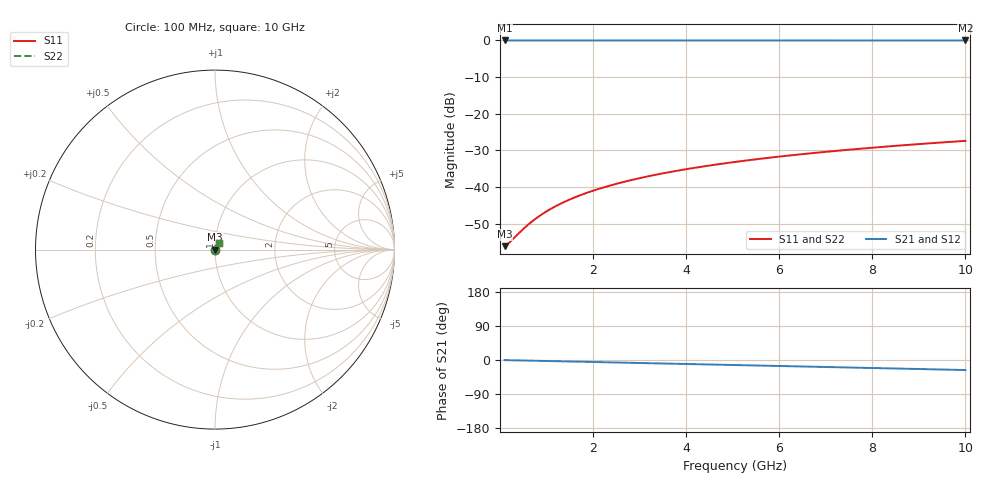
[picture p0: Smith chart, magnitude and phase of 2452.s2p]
# Hz S RI R 50.00
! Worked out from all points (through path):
!   100 points, 100 MHz to 10 GHz, reference 50 ohm
!   highest |S21| = -0.01 dB at 100 MHz (marker M1); lowest = 0.0 dB at 10 GHz (marker M2)
!   group delay of S21, straight-line fit = 7.35 ps
!   lowest |S11| = -56.2 dB at 100 MHz (marker M3), VSWR 1.00, Z = 50.1 + j0.0433 ohm
!   |S11| at or under -10 dB: start of sweep to end of sweep
!   |S22| runs from -56.2 to -27.4 dB; largest |S21 - S12| = 0
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1e8  0.00149 0.000432  0.9985 -0.00457  0.9985 -0.00457  0.00149 0.000432
2e8  0.00151 0.000864  0.9984 -0.00914  0.9984 -0.00914  0.00151 0.000864
5e8  0.00156 0.00216  0.9982 -0.0229  0.9982 -0.0229  0.00156 0.00216
6e8  0.00159 0.00259  0.9981 -0.0274  0.9981 -0.0274  0.00159 0.00259
7e8  0.00161 0.00302  0.9979 -0.032  0.9979 -0.032  0.00161 0.00302
9e8  0.00168 0.00388  0.9976 -0.0411  0.9976 -0.0411  0.00168 0.00388
1.1e9  0.00176 0.00474  0.9972 -0.0503  0.9972 -0.0503  0.00176 0.00474
1.3e9  0.00186 0.0056  0.9966 -0.0594  0.9966 -0.0594  0.00186 0.0056
1.5e9  0.00197 0.00645  0.996 -0.0686  0.996 -0.0686  0.00197 0.00645
1.8e9  0.00217 0.00773  0.995 -0.0823  0.995 -0.0823  0.00217 0.00773
2.1e9  0.0024 0.009  0.9937 -0.0959  0.9937 -0.0959  0.0024 0.009
2.5e9  0.00277 0.0107  0.9918 -0.1142  0.9918 -0.1142  0.00277 0.0107
2.9e9  0.00319 0.0123  0.9895 -0.1324  0.9895 -0.1324  0.00319 0.0123
3.4e9  0.00381 0.0144  0.9861 -0.1551  0.9861 -0.1551  0.00381 0.0144
3.8e9  0.00437 0.016  0.983 -0.1732  0.983 -0.1732  0.00437 0.016
4.2e9  0.00499 0.0176  0.9796 -0.1912  0.9796 -0.1912  0.00499 0.0176
5.1e9  0.0066 0.0211  0.9708 -0.2317  0.9708 -0.2317  0.0066 0.0211
5.9e9  0.00828 0.0241  0.9614 -0.2674  0.9614 -0.2674  0.00828 0.0241
6.7e9  0.0102 0.027  0.9508 -0.3027  0.9508 -0.3027  0.0102 0.027
7.5e9  0.0123 0.0298  0.9388 -0.3377  0.9388 -0.3377  0.0123 0.0298
8.4e9  0.0149 0.0327  0.9237 -0.3766  0.9237 -0.3766  0.0149 0.0327
1e10  0.0202 0.0374  0.8928 -0.4442  0.8928 -0.4442  0.0202 0.0374
